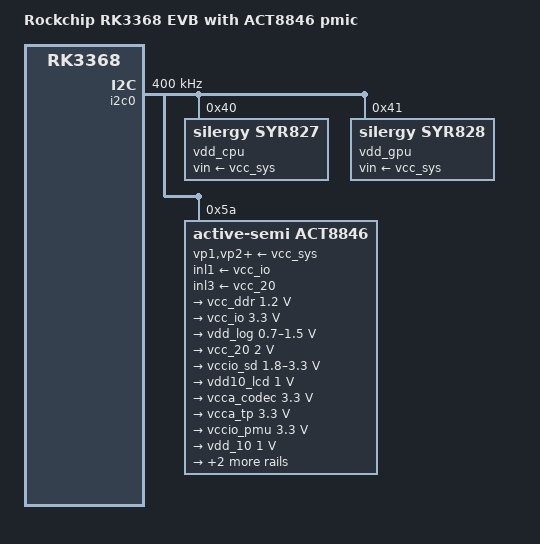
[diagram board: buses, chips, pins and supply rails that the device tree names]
// SPDX-License-Identifier: (GPL-2.0+ OR MIT)
/*
 * Copyright (c) 2015 Caesar Wang <wxt@rock-chips.com>
 */

/dts-v1/;
#include "rk3368-evb.dtsi"

/ {
	model = "Rockchip RK3368 EVB with ACT8846 pmic";
	compatible = "rockchip,rk3368-evb-act8846", "rockchip,rk3368";
};

&i2c0 {
	clock-frequency = <400000>;

	vdd_cpu: syr827@40 {
		compatible = "silergy,syr827";
		reg = <0x40>;
		fcs,suspend-voltage-selector = <1>;
		regulator-name = "vdd_cpu";
		regulator-min-microvolt = <850000>;
		regulator-max-microvolt = <1350000>;
		regulator-always-on;
		regulator-boot-on;
		vin-supply = <&vcc_sys>;
	};

	vdd_gpu: syr828@41 {
		compatible = "silergy,syr828";
		reg = <0x41>;
		fcs,suspend-voltage-selector = <1>;
		regulator-name = "vdd_gpu";
		regulator-min-microvolt = <850000>;
		regulator-max-microvolt = <1350000>;
		regulator-always-on;
		vin-supply = <&vcc_sys>;
	};

	act8846: act8846@5a {
		compatible = "active-semi,act8846";
		reg = <0x5a>;
		status = "okay";

		vp1-supply = <&vcc_sys>;
		vp2-supply = <&vcc_sys>;
		vp3-supply = <&vcc_sys>;
		vp4-supply = <&vcc_sys>;
		inl1-supply = <&vcc_io>;
		inl2-supply = <&vcc_sys>;
		inl3-supply = <&vcc_20>;

		regulators {
			vcc_ddr: REG1 {
				regulator-name = "VCC_DDR";
				regulator-min-microvolt = <1200000>;
				regulator-max-microvolt = <1200000>;
				regulator-always-on;
			};

			vcc_io: REG2 {
				regulator-name = "VCC_IO";
				regulator-min-microvolt = <3300000>;
				regulator-max-microvolt = <3300000>;
				regulator-always-on;
			};

			vdd_log: REG3 {
				regulator-name = "VDD_LOG";
				regulator-min-microvolt = <700000>;
				regulator-max-microvolt = <1500000>;
				regulator-always-on;
			};

			vcc_20: REG4 {
				regulator-name = "VCC_20";
				regulator-min-microvolt = <2000000>;
				regulator-max-microvolt = <2000000>;
				regulator-always-on;
			};

			vccio_sd: REG5 {
				regulator-name = "VCCIO_SD";
				regulator-min-microvolt = <1800000>;
				regulator-max-microvolt = <3300000>;
				regulator-always-on;
			};

			vdd10_lcd: REG6 {
				regulator-name = "VDD10_LCD";
				regulator-min-microvolt = <1000000>;
				regulator-max-microvolt = <1000000>;
				regulator-always-on;
			};

			vcca_codec: REG7 {
				regulator-name = "VCCA_CODEC";
				regulator-min-microvolt = <3300000>;
				regulator-max-microvolt = <3300000>;
				regulator-always-on;
			};

			vcca_tp: REG8 {
				regulator-name = "VCCA_TP";
				regulator-min-microvolt = <3300000>;
				regulator-max-microvolt = <3300000>;
				regulator-always-on;
			};

			vccio_pmu: REG9 {
				regulator-name = "VCCIO_PMU";
				regulator-min-microvolt = <3300000>;
				regulator-max-microvolt = <3300000>;
				regulator-always-on;
			};

			vdd_10: REG10 {
				regulator-name = "VDD_10";
				regulator-min-microvolt = <1000000>;
				regulator-max-microvolt = <1000000>;
				regulator-always-on;
			};

			vcc_18: REG11 {
				regulator-name = "VCC_18";
				regulator-min-microvolt = <1800000>;
				regulator-max-microvolt = <1800000>;
				regulator-always-on;
			};

			vcc18_lcd: REG12 {
				regulator-name = "VCC18_LCD";
				regulator-min-microvolt = <1800000>;
				regulator-max-microvolt = <1800000>;
				regulator-always-on;
			};
		};
	};
};
